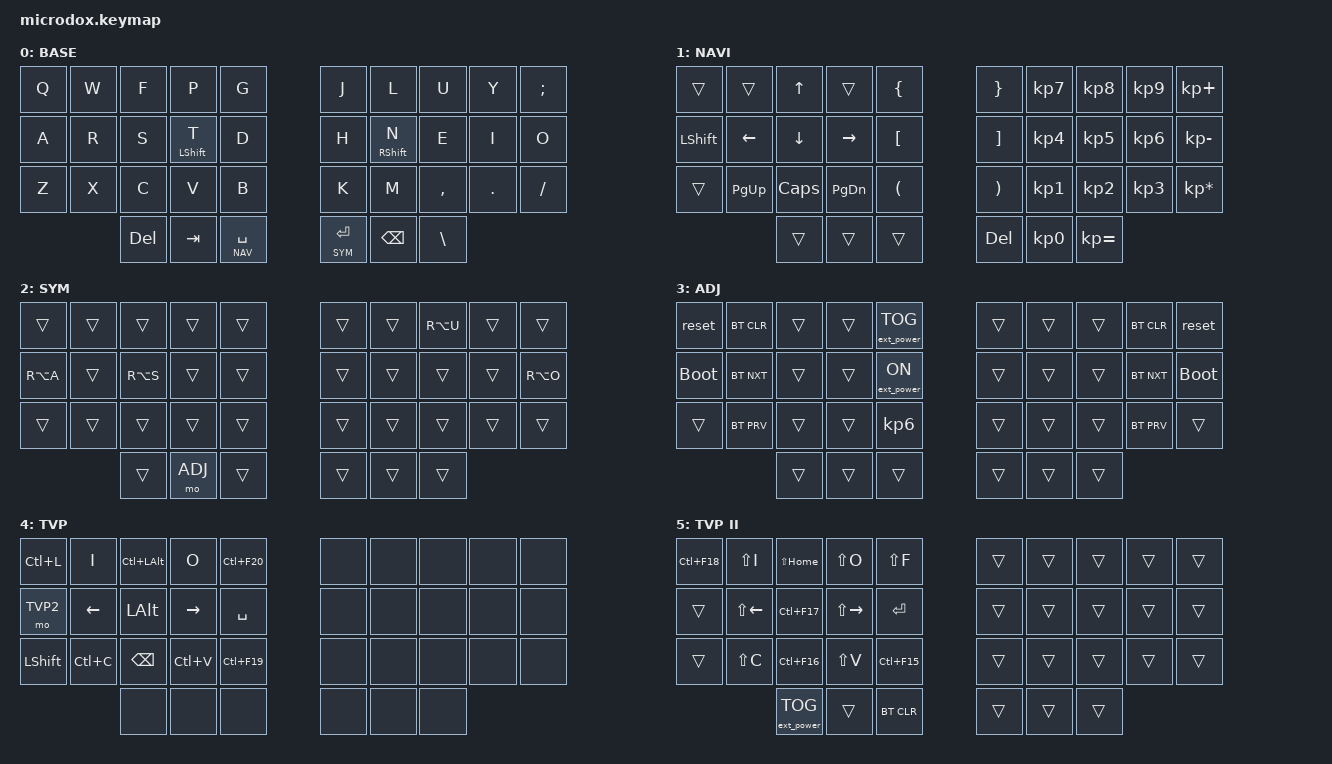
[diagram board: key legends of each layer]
/*
 * Copyright (c) 2020 The ZMK Contributors
 *
 * SPDX-License-Identifier: MIT
 */

#include <behaviors.dtsi>
#include <dt-bindings/zmk/keys.h>
#include <dt-bindings/zmk/bt.h>
#include <dt-bindings/zmk/ext_power.h>


#define BASE 0
#define NAV  1
#define SYM  2
#define ADJ  3
#define TVP1 4
#define TVP2 5


/ {
    behaviors {
        hm: homerow_mods {
            compatible = "zmk,behavior-hold-tap";
            label = "HOMEROW_MODS";
            #binding-cells = <2>;
            tapping-term-ms = <150>;
            quick_tap_ms = <0>;
            flavor = "tap-preferred";
            bindings = <&kp>, <&kp>;
        };

    };

     combos {
            compatible = "zmk,combos";
            combo_esc {
                timeout-ms = <50>;
                key-positions = <0 1>;
                bindings = <&kp ESC>;
            };
            combo_tvp {
                timeout-ms = <100>;
                key-positions = <11 12 13>;
                bindings = <&tog TVP1>;
            };
    };



        keymap {
                compatible = "zmk,keymap";
// ▄▄▄▄▄▄▄▄▄▄▄▄▄▄▄▄▄▄▄▄▄▄▄▄▄▄▄▄▄▄▄▄▄▄▄▄▄▄▄▄▄▄▄▄▄▄▄▄▄▄▄▄▄▄▄▄▄▄▄▄▄▄▄▄▄▄▄▄▄▄▄▄▄▄▄▄▄▄▄▄▄▄▄▄▄▄▄▄▄▄▄▄▄▄▄▄▄▄▄▄▄▄▄▄▄▄▄▄▄▄▄▄▄▄▄▄▄▄▄▄▄▄▄▄▄


                base_layer {
// ┏━━━━━━━━━━━━━━━━━━━━━━━━━━━━━━━━━━━━━━━┓
label= "BASE"                              ;
// ┗━━━━━━━━━━━━━━━━━━━━━━━━━━━━━━━━━━━━━━━┛
// ┏━━━━━━━━━━━┳━━━━━━━━━━━┳━━━━━━━━━━━┳━━━━━━━━━━━┳━━━━━━━━━━━┓   ┏━━━━━━━━━━━┳━━━━━━━━━━━┳━━━━━━━━━━━┳━━━━━━━━━━━┳━━━━━━━━━━━┓
// ┃     Q     ┃     W     ┃     F     ┃     P     ┃     G     ┃   ┃     J     ┃     L     ┃     U     ┃     Y     ┃     ;     ┃
// ┣━━━━━━━━━━━╋━━━━━━━━━━━╋━━━━━━━━━━━╋━━━━━━━━━━━╋━━━━━━━━━━━┫   ┣━━━━━━━━━━━╋━━━━━━━━━━━╋━━━━━━━━━━━╋━━━━━━━━━━━╋━━━━━━━━━━━┫
// ┃     A     ┃     R     ┃     S     ┃     T     ┃     D     ┃   ┃     H     ┃     N     ┃     E     ┃     I     ┃     O     ┃
// ┣━━━━━━━━━━━╋━━━━━━━━━━━╋━━━━━━━━━━━╋━━━━━━━━━━━╋━━━━━━━━━━━┫   ┣━━━━━━━━━━━╋━━━━━━━━━━━╋━━━━━━━━━━━╋━━━━━━━━━━━╋━━━━━━━━━━━┫
// ┃     Z     ┃     X     ┃     C     ┃     V     ┃     B     ┃   ┃     K     ┃     M     ┃     ,     ┃     .     ┃     /     ┃
// ┗━━━━━━━━━━━┻━━━━━━━━━━━╋━━━━━━━━━━━╋━━━━━━━━━━━╋━━━━━━━━━━━┫   ┣━━━━━━━━━━━╋━━━━━━━━━━━╋━━━━━━━━━━━╋━━━━━━━━━━━┻━━━━━━━━━━━┛
//                         ┃    DEL    ┃    TAB    ┃    SPC    ┃   ┃   ENTER   ┃   BSPC    ┃     \     ┃
//                         ┗━━━━━━━━━━━┻━━━━━━━━━━━┻━━━━━━━━━━━┛   ┗━━━━━━━━━━━┻━━━━━━━━━━━┻━━━━━━━━━━━┛
 bindings = <
// ╷           ╷           ╷           ╷           ╷           ╷   ╷           ╷           ╷           ╷           ╷           ╷

    &kp Q       &kp W       &kp F       &kp P       &kp G           &kp J       &kp L       &kp U       &kp Y       &kp SEMI
    &kp A       &kp R       &kp S      	&hm LSHFT T &kp D           &kp H       &hm RSHFT N &kp E       &kp I       &kp O
    &kp Z       &kp X       &kp C       &kp V       &kp B           &kp K       &kp M       &kp COMMA   &kp DOT     &kp FSLH
                            &kp DEL     &kp TAB     &lt NAV SPACE   &lt SYM RET &kp BSPC    &kp BSLH
                        >;
                };

// ▄▄▄▄▄▄▄▄▄▄▄▄▄▄▄▄▄▄▄▄▄▄▄▄▄▄▄▄▄▄▄▄▄▄▄▄▄▄▄▄▄▄▄▄▄▄▄▄▄▄▄▄▄▄▄▄▄▄▄▄▄▄▄▄▄▄▄▄▄▄▄▄▄▄▄▄▄▄▄▄▄▄▄▄▄▄▄▄▄▄▄▄▄▄▄▄▄▄▄▄▄▄▄▄▄▄▄▄▄▄▄▄▄▄▄▄▄▄▄▄▄▄▄▄▄


                nav_layer {
// ┏━━━━━━━━━━━━━━━━━━━━━━━━━━━━━━━━━━━━━━━┓
label= "NAVI"                              ;
// ┗━━━━━━━━━━━━━━━━━━━━━━━━━━━━━━━━━━━━━━━┛
// ┏━━━━━━━━━━━┳━━━━━━━━━━━┳━━━━━━━━━━━┳━━━━━━━━━━━┳━━━━━━━━━━━┓   ┏━━━━━━━━━━━┳━━━━━━━━━━━┳━━━━━━━━━━━┳━━━━━━━━━━━┳━━━━━━━━━━━┓
// ┃           ┃           ┃     UP    ┃           ┃     {     ┃   ┃     }     ┃     7     ┃     8     ┃     9     ┃     +     ┃
// ┣━━━━━━━━━━━╋━━━━━━━━━━━╋━━━━━━━━━━━╋━━━━━━━━━━━╋━━━━━━━━━━━┫   ┣━━━━━━━━━━━╋━━━━━━━━━━━╋━━━━━━━━━━━╋━━━━━━━━━━━╋━━━━━━━━━━━┫
// ┃   SHIFT   ┃   LEFT    ┃    DOWN   ┃   RIGHT   ┃     [     ┃   ┃     ]     ┃     4     ┃     5     ┃     6     ┃     -     ┃
// ┣━━━━━━━━━━━╋━━━━━━━━━━━╋━━━━━━━━━━━╋━━━━━━━━━━━╋━━━━━━━━━━━┫   ┣━━━━━━━━━━━╋━━━━━━━━━━━╋━━━━━━━━━━━╋━━━━━━━━━━━╋━━━━━━━━━━━┫
// ┃           ┃   P UP    ┃  C LOCK   ┃  P DOWN   ┃     (     ┃   ┃     )     ┃     1     ┃     2     ┃     3     ┃     *     ┃
// ┗━━━━━━━━━━━┻━━━━━━━━━━━╋━━━━━━━━━━━╋━━━━━━━━━━━╋━━━━━━━━━━━┫   ┣━━━━━━━━━━━╋━━━━━━━━━━━╋━━━━━━━━━━━╋━━━━━━━━━━━┻━━━━━━━━━━━┛
//                         ┃           ┃           ┃           ┃   ┃    DEL    ┃     =     ┃     0     ┃
//                         ┗━━━━━━━━━━━┻━━━━━━━━━━━┻━━━━━━━━━━━┛   ┗━━━━━━━━━━━┻━━━━━━━━━━━┻━━━━━━━━━━━┛
 bindings = <
// ╷           ╷           ╷           ╷           ╷           ╷   ╷           ╷           ╷           ╷           ╷           ╷

    &trans      &trans      &kp UP      &trans      &kp LBRC        &kp RBRC    &kp KP_N7   &kp KP_N8   &kp KP_N9   &kp KP_PLUS
    &kp LSHFT   &kp LEFT    &kp DOWN    &kp RIGHT   &kp LBKT        &kp RBKT    &kp KP_N4   &kp KP_N5   &kp KP_N6   &kp KP_MINUS
    &trans      &kp PG_UP   &kp CAPS    &kp PG_DN   &kp LPAR        &kp RPAR    &kp KP_N1   &kp KP_N2   &kp KP_N3   &kp KP_MULTIPLY
                            &trans      &trans      &trans          &kp DELETE  &kp KP_N0   &kp KP_EQUAL 
                        >;
                };

// ▄▄▄▄▄▄▄▄▄▄▄▄▄▄▄▄▄▄▄▄▄▄▄▄▄▄▄▄▄▄▄▄▄▄▄▄▄▄▄▄▄▄▄▄▄▄▄▄▄▄▄▄▄▄▄▄▄▄▄▄▄▄▄▄▄▄▄▄▄▄▄▄▄▄▄▄▄▄▄▄▄▄▄▄▄▄▄▄▄▄▄▄▄▄▄▄▄▄▄▄▄▄▄▄▄▄▄▄▄▄▄▄▄▄▄▄▄▄▄▄▄▄▄▄▄


                sim_layer {
// ┏━━━━━━━━━━━━━━━━━━━━━━━━━━━━━━━━━━━━━━━┓
label= "SYM"                               ;
// ┗━━━━━━━━━━━━━━━━━━━━━━━━━━━━━━━━━━━━━━━┛
// ┏━━━━━━━━━━━┳━━━━━━━━━━━┳━━━━━━━━━━━┳━━━━━━━━━━━┳━━━━━━━━━━━┓   ┏━━━━━━━━━━━┳━━━━━━━━━━━┳━━━━━━━━━━━┳━━━━━━━━━━━┳━━━━━━━━━━━┓
// ┃           ┃           ┃           ┃           ┃           ┃   ┃           ┃           ┃           ┃           ┃           ┃
// ┣━━━━━━━━━━━╋━━━━━━━━━━━╋━━━━━━━━━━━╋━━━━━━━━━━━╋━━━━━━━━━━━┫   ┣━━━━━━━━━━━╋━━━━━━━━━━━╋━━━━━━━━━━━╋━━━━━━━━━━━╋━━━━━━━━━━━┫
// ┃           ┃           ┃           ┃           ┃           ┃   ┃           ┃           ┃           ┃           ┃           ┃
// ┣━━━━━━━━━━━╋━━━━━━━━━━━╋━━━━━━━━━━━╋━━━━━━━━━━━╋━━━━━━━━━━━┫   ┣━━━━━━━━━━━╋━━━━━━━━━━━╋━━━━━━━━━━━╋━━━━━━━━━━━╋━━━━━━━━━━━┫
// ┃           ┃           ┃           ┃           ┃           ┃   ┃           ┃           ┃           ┃           ┃           ┃
// ┗━━━━━━━━━━━┻━━━━━━━━━━━╋━━━━━━━━━━━╋━━━━━━━━━━━╋━━━━━━━━━━━┫   ┣━━━━━━━━━━━╋━━━━━━━━━━━╋━━━━━━━━━━━╋━━━━━━━━━━━┻━━━━━━━━━━━┛
//                         ┃           ┃  ADJUST   ┃           ┃   ┃           ┃           ┃           ┃
//                         ┗━━━━━━━━━━━┻━━━━━━━━━━━┻━━━━━━━━━━━┛   ┗━━━━━━━━━━━┻━━━━━━━━━━━┻━━━━━━━━━━━┛
 bindings = <
// ╷           ╷           ╷           ╷           ╷           ╷   ╷           ╷           ╷           ╷           ╷           ╷

    &trans      &trans      &trans      &trans      &trans          &trans      &trans      &kp RA(U)   &trans      &trans      
    &kp RA(A)   &trans      &kp RA(S)   &trans      &trans          &trans      &trans      &trans      &trans      &kp RA(O)    
    &trans      &trans      &trans      &trans      &trans          &trans      &trans      &trans      &trans      &trans      
                            &trans      &mo ADJ     &trans          &trans      &trans      &trans
                        >;
                };

// ▄▄▄▄▄▄▄▄▄▄▄▄▄▄▄▄▄▄▄▄▄▄▄▄▄▄▄▄▄▄▄▄▄▄▄▄▄▄▄▄▄▄▄▄▄▄▄▄▄▄▄▄▄▄▄▄▄▄▄▄▄▄▄▄▄▄▄▄▄▄▄▄▄▄▄▄▄▄▄▄▄▄▄▄▄▄▄▄▄▄▄▄▄▄▄▄▄▄▄▄▄▄▄▄▄▄▄▄▄▄▄▄▄▄▄▄▄▄▄▄▄▄▄▄▄


                adjust_layer {
// ┏━━━━━━━━━━━━━━━━━━━━━━━━━━━━━━━━━━━━━━━┓
label= "ADJ"                               ;
// ┗━━━━━━━━━━━━━━━━━━━━━━━━━━━━━━━━━━━━━━━┛
// ┏━━━━━━━━━━━┳━━━━━━━━━━━┳━━━━━━━━━━━┳━━━━━━━━━━━┳━━━━━━━━━━━┓   ┏━━━━━━━━━━━┳━━━━━━━━━━━┳━━━━━━━━━━━┳━━━━━━━━━━━┳━━━━━━━━━━━┓
// ┃           ┃           ┃           ┃           ┃           ┃   ┃           ┃           ┃           ┃           ┃           ┃
// ┣━━━━━━━━━━━╋━━━━━━━━━━━╋━━━━━━━━━━━╋━━━━━━━━━━━╋━━━━━━━━━━━┫   ┣━━━━━━━━━━━╋━━━━━━━━━━━╋━━━━━━━━━━━╋━━━━━━━━━━━╋━━━━━━━━━━━┫
// ┃           ┃           ┃           ┃           ┃           ┃   ┃           ┃           ┃           ┃           ┃           ┃
// ┣━━━━━━━━━━━╋━━━━━━━━━━━╋━━━━━━━━━━━╋━━━━━━━━━━━╋━━━━━━━━━━━┫   ┣━━━━━━━━━━━╋━━━━━━━━━━━╋━━━━━━━━━━━╋━━━━━━━━━━━╋━━━━━━━━━━━┫
// ┃           ┃           ┃           ┃           ┃           ┃   ┃           ┃           ┃           ┃           ┃           ┃
// ┗━━━━━━━━━━━┻━━━━━━━━━━━╋━━━━━━━━━━━╋━━━━━━━━━━━╋━━━━━━━━━━━┫   ┣━━━━━━━━━━━╋━━━━━━━━━━━╋━━━━━━━━━━━╋━━━━━━━━━━━┻━━━━━━━━━━━┛
//                         ┃           ┃           ┃           ┃   ┃           ┃           ┃           ┃
//                         ┗━━━━━━━━━━━┻━━━━━━━━━━━┻━━━━━━━━━━━┛   ┗━━━━━━━━━━━┻━━━━━━━━━━━┻━━━━━━━━━━━┛
 bindings = <
// ╷           ╷           ╷           ╷           ╷           ╷   ╷           ╷           ╷           ╷           ╷           ╷

    &reset      &bt BT_CLR  &trans      &trans  &ext_power EP_TOG   &trans      &trans      &trans      &bt BT_CLR  &reset  
    &bootloader &bt BT_NXT  &trans      &trans  &ext_power EP_ON    &trans      &trans      &trans      &bt BT_NXT  &bootloader    
    &trans      &bt BT_PRV  &trans      &trans      &kp KP_N6       &trans      &trans      &trans      &bt BT_PRV  &trans      
                            &trans      &trans      &trans          &trans      &trans      &trans
                        >;
                };

// ▄▄▄▄▄▄▄▄▄▄▄▄▄▄▄▄▄▄▄▄▄▄▄▄▄▄▄▄▄▄▄▄▄▄▄▄▄▄▄▄▄▄▄▄▄▄▄▄▄▄▄▄▄▄▄▄▄▄▄▄▄▄▄▄▄▄▄▄▄▄▄▄▄▄▄▄▄▄▄▄▄▄▄▄▄▄▄▄▄▄▄▄▄▄▄▄▄▄▄▄▄▄▄▄▄▄▄▄▄▄▄▄▄▄▄▄▄▄▄▄▄▄▄▄▄


                tvp1_layer {
// ┏━━━━━━━━━━━━━━━━━━━━━━━━━━━━━━━━━━━━━━━┓
label= "TVP"                               ;
// ┗━━━━━━━━━━━━━━━━━━━━━━━━━━━━━━━━━━━━━━━┛
// ┏━━━━━━━━━━━┳━━━━━━━━━━━┳━━━━━━━━━━━┳━━━━━━━━━━━┳━━━━━━━━━━━┓   ┏━━━━━━━━━━━┳━━━━━━━━━━━┳━━━━━━━━━━━┳━━━━━━━━━━━┳━━━━━━━━━━━┓
// ┃ LT TABLE  ┃ MARK IN   ┃ ROTATE    ┃ MARK OUT  ┃ SHOW SNAP ┃   ┃           ┃           ┃           ┃           ┃           ┃
// ┣━━━━━━━━━━━╋━━━━━━━━━━━╋━━━━━━━━━━━╋━━━━━━━━━━━╋━━━━━━━━━━━┫   ┣━━━━━━━━━━━╋━━━━━━━━━━━╋━━━━━━━━━━━╋━━━━━━━━━━━╋━━━━━━━━━━━┫
// ┃ TVP II    ┃ LEFT      ┃ PAN       ┃ RIGHT     ┃ PLAY      ┃   ┃           ┃           ┃           ┃           ┃           ┃
// ┣━━━━━━━━━━━╋━━━━━━━━━━━╋━━━━━━━━━━━╋━━━━━━━━━━━╋━━━━━━━━━━━┫   ┣━━━━━━━━━━━╋━━━━━━━━━━━╋━━━━━━━━━━━╋━━━━━━━━━━━╋━━━━━━━━━━━┫
// ┃ SHIFT     ┃ COPY      ┃ DELETE    ┃ PASTE     ┃ IMG MARK  ┃   ┃           ┃           ┃           ┃           ┃           ┃
// ┗━━━━━━━━━━━┻━━━━━━━━━━━╋━━━━━━━━━━━╋━━━━━━━━━━━╋━━━━━━━━━━━┫   ┣━━━━━━━━━━━╋━━━━━━━━━━━╋━━━━━━━━━━━╋━━━━━━━━━━━┻━━━━━━━━━━━┛
//                         ┃           ┃           ┃           ┃   ┃           ┃           ┃           ┃
//                         ┗━━━━━━━━━━━┻━━━━━━━━━━━┻━━━━━━━━━━━┛   ┗━━━━━━━━━━━┻━━━━━━━━━━━┻━━━━━━━━━━━┛
 bindings = <
// ╷           ╷           ╷           ╷           ╷           ╷   ╷           ╷           ╷           ╷           ╷           ╷

    &kp LC(L)   &kp I       &kp LC(LALT) &kp O      &kp LC(F20)     &none       &none       &none       &none       &none
    &mo TVP2    &kp LEFT    &kp LALT    &kp RIGHT   &kp SPACE       &none       &none       &none       &none       &none
    &kp LSHFT   &kp LC(C)   &kp BSPC    &kp LC(V)   &kp LC(F19)     &none       &none       &none       &none       &none
                            &none       &none       &none           &none       &none       &none       
                        >;
                };

// ▄▄▄▄▄▄▄▄▄▄▄▄▄▄▄▄▄▄▄▄▄▄▄▄▄▄▄▄▄▄▄▄▄▄▄▄▄▄▄▄▄▄▄▄▄▄▄▄▄▄▄▄▄▄▄▄▄▄▄▄▄▄▄▄▄▄▄▄▄▄▄▄▄▄▄▄▄▄▄▄▄▄▄▄▄▄▄▄▄▄▄▄▄▄▄▄▄▄▄▄▄▄▄▄▄▄▄▄▄▄▄▄▄▄▄▄▄▄▄▄▄▄▄▄▄


                tvp2_layer {
// ┏━━━━━━━━━━━━━━━━━━━━━━━━━━━━━━━━━━━━━━━┓
label= "TVP II"                            ;
// ┗━━━━━━━━━━━━━━━━━━━━━━━━━━━━━━━━━━━━━━━┛
// ┏━━━━━━━━━━━┳━━━━━━━━━━━┳━━━━━━━━━━━┳━━━━━━━━━━━┳━━━━━━━━━━━┓   ┏━━━━━━━━━━━┳━━━━━━━━━━━┳━━━━━━━━━━━┳━━━━━━━━━━━┳━━━━━━━━━━━┓
// ┃ SOLO      ┃ TOGGLE IN ┃ RESET ROT ┃ TOGGLE OUT┃ TAKE SNAP ┃   ┃           ┃           ┃           ┃           ┃           ┃
// ┣━━━━━━━━━━━╋━━━━━━━━━━━╋━━━━━━━━━━━╋━━━━━━━━━━━╋━━━━━━━━━━━┫   ┣━━━━━━━━━━━╋━━━━━━━━━━━╋━━━━━━━━━━━╋━━━━━━━━━━━╋━━━━━━━━━━━┫
// ┃ ---       ┃ LAST KEY  ┃ NEW KEY   ┃ NEXT KEY  ┃ ENTER     ┃   ┃           ┃           ┃           ┃           ┃           ┃
// ┣━━━━━━━━━━━╋━━━━━━━━━━━╋━━━━━━━━━━━╋━━━━━━━━━━━╋━━━━━━━━━━━┫   ┣━━━━━━━━━━━╋━━━━━━━━━━━╋━━━━━━━━━━━╋━━━━━━━━━━━╋━━━━━━━━━━━┫
// ┃           ┃ CPY2BRUSH ┃ DEL HEAD  ┃ PSTinPLACE┃ BOOK MARK ┃   ┃           ┃           ┃           ┃           ┃           ┃
// ┗━━━━━━━━━━━┻━━━━━━━━━━━╋━━━━━━━━━━━╋━━━━━━━━━━━╋━━━━━━━━━━━┫   ┣━━━━━━━━━━━╋━━━━━━━━━━━╋━━━━━━━━━━━╋━━━━━━━━━━━┻━━━━━━━━━━━┛
//                         ┃ POWER TOG ┃           ┃ BT Clear  ┃   ┃           ┃           ┃           ┃
//                         ┗━━━━━━━━━━━┻━━━━━━━━━━━┻━━━━━━━━━━━┛   ┗━━━━━━━━━━━┻━━━━━━━━━━━┻━━━━━━━━━━━┛
 bindings = <
// ╷           ╷           ╷           ╷           ╷           ╷   ╷           ╷           ╷           ╷           ╷           ╷

    &kp LC(F18) &kp LS(I)  &kp LS(HOME) &kp LS(O)   &kp LS(F)       &trans      &trans      &trans      &trans      &trans      
    &trans      &kp LS(LEFT) &kp LC(F17) &kp LS(RIGHT) &kp RET      &trans      &trans      &trans      &trans      &trans      
    &trans      &kp LS(C)   &kp LC(F16) &kp LS(V)   &kp LC(F15)     &trans    &trans      &trans      &trans      &trans      
                            &ext_power EP_TOG &trans &bt BT_CLR    &trans      &trans      &trans
                          >;
                };
        };
};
